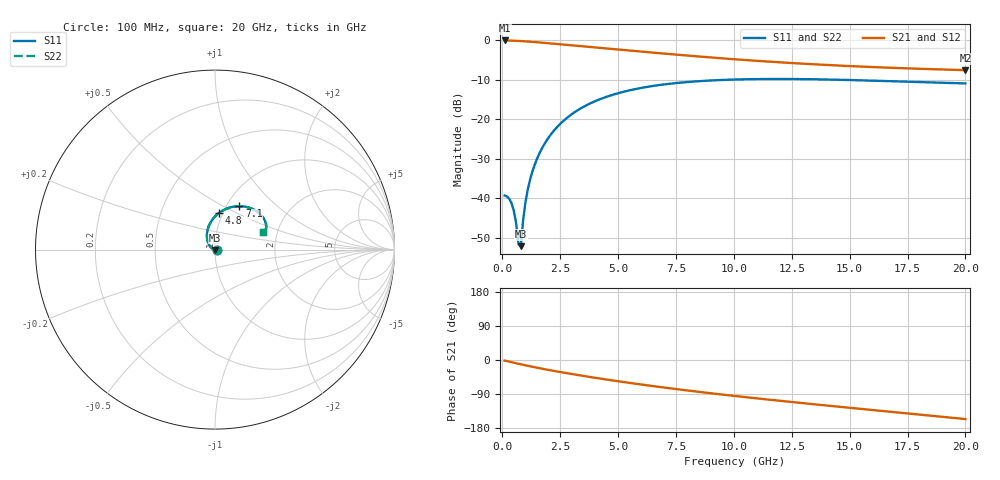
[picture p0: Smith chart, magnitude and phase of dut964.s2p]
! Touchstone file exported from HFSS 2024.1.0
!  File:  C:/UserFiles/LocalFiles/RDL_TSV_Batchsim/temp_RDL_TSV_964_1779969148.aedt
!  Generated:  08:07:55 PM May 28, 2026
!  Design:  RDL_TSV
!  Project:  temp_RDL_TSV_964_1779969148
!  Setup:  Setup1
!  Solution:  Sweep
! Variables:
!  dtsv = 11.07um
!  hbump = 3um
!  htsv = 64.12um
!  ldown = 256.12um
!  lrdl = 351.26um
!  p = 40
!  p1 = 51.87um
!  rhole = 10um
!  subl = 2173.4um
!  t = 450um
!  tdown = 4.42um
!  trdl = 3.55um
!  viad = 10um
!  wdown = 12.26um
!  wrdl = 27.33um
!  xbump = 18um
# GHz S MA R 50.000000
! Terminal data exported
! Port[1] = TM1_1_T1
! Port[2] = TM1_4_T1
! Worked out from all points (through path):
!   200 points, 100 MHz to 20 GHz, reference 50 ohm
!   highest |S21| = -0.10 dB at 100 MHz (marker M1); lowest = -7.6 dB at 20 GHz (marker M2)
!   group delay of S21, straight-line fit = 20.4 ps
!   lowest |S11| = -52.1 dB at 800 MHz (marker M3), VSWR 1.00, Z = 49.8 - j0.156 ohm
!   |S11| at or under -10 dB: start of sweep to 9.945 GHz; 14.22 GHz to end of sweep
!   |S22| runs from -52.2 to -9.8 dB; largest |S21 - S12| = 1.9e-14
!   S11 on the Smith chart (normalised r, x): 100 MHz: 1.02, -0.00; 4.8 GHz: 0.96, +0.41; 7.1 GHz: 1.15, +0.60; 20 GHz: 1.68, +0.36
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0.1  0.01078 -1.6  0.9887 -1.5  0.9887 -1.5  0.01078 -1.6
! Gamma 0 0 0 0
! Port Impedance 50 0 50 0
0.3  0.00982 -8.9  0.9856 -4.4  0.9856 -4.4  0.009822 -8.9
0.4  0.008596 -14.4  0.9834 -5.8  0.9834 -5.8  0.008599 -14.4
0.5  0.006885 -21.7  0.9808 -7.2  0.9808 -7.2  0.00689 -21.8
0.6  0.004782 -33.4  0.9779 -8.6  0.9779 -8.6  0.004789 -33.4
0.7  0.00261 -62.7  0.9746 -9.9  0.9746 -9.9  0.002618 -62.6
0.8  0.002471 -140.7  0.971 -11.3  0.971 -11.3  0.002469 -140.4
0.9  0.005265 -176.3  0.9671 -12.7  0.9671 -12.7  0.005256 -176.2
1  0.008866 171.1  0.9628 -14.0  0.9628 -14.0  0.008853 171.2
1.1  0.01286 163.9  0.9584 -15.3  0.9584 -15.3  0.01285 163.9
1.3  0.02172 154.3  0.9488 -17.8  0.9488 -17.8  0.0217 154.3
1.6  0.03663 143.9  0.9333 -21.6  0.9333 -21.6  0.0366 143.9
2  0.05843 132.8  0.9115 -26.3  0.9115 -26.3  0.05839 132.8
2.4  0.08126 123.3  0.8895 -30.7  0.8895 -30.7  0.08121 123.3
3.5  0.1427 102.5  0.8313 -42.0  0.8313 -42.0  0.1426 102.5
4.8  0.2044 84.0  0.7682 -54.3  0.7682 -54.3  0.2043 84.0
6.8  0.2702 63.3  0.6817 -71.2  0.6817 -71.2  0.2701 63.3
7.1  0.2773 60.8  0.6698 -73.6  0.6698 -73.6  0.2772 60.8
10.1  0.3172 41.1  0.5697 -95.3  0.5697 -95.3  0.3171 41.1
13.4  0.3195 27.9  0.4948 -116.4  0.4948 -116.4  0.3193 27.9
16.7  0.3021 21.2  0.447 -136.3  0.447 -136.3  0.3019 21.2
20  0.2827 20.2  0.4163 -155.9  0.4163 -155.9  0.2825 20.1
